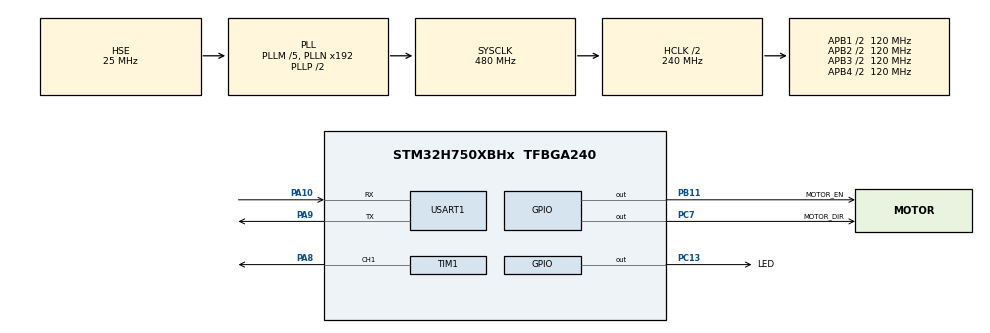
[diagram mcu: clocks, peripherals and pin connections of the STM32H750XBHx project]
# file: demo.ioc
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CORTEX_M7.default_mode_Activation=1
Mcu.Family=STM32H7
Mcu.Name=STM32H750XBHx
Mcu.Package=TFBGA240
NVIC.PriorityGroup=NVIC_PRIORITYGROUP_4
NVIC.TIM1_UP_IRQn=true\:0\:0\:false\:false\:true\:true\:true\:true
PA10.Mode=Asynchronous
PA10.Signal=USART1_RX
PA13\ (JTMS/SWDIO).Mode=Serial_Wire
PA13\ (JTMS/SWDIO).Signal=DEBUG_JTMS-SWDIO
PA14\ (JTCK/SWCLK).Mode=Serial_Wire
PA14\ (JTCK/SWCLK).Signal=DEBUG_JTCK-SWCLK
PA8.Signal=S_TIM1_CH1
PA9.Mode=Asynchronous
PA9.Signal=USART1_TX
PB11.GPIO_Label=MOTOR_EN
PB11.PinState=GPIO_PIN_SET
PB11.Signal=GPIO_Output
PC13.GPIO_Label=LED
PC13.GPIO_PuPd=GPIO_PULLUP
PC13.PinState=GPIO_PIN_SET
PC13.Signal=GPIO_Output
PC7.GPIO_Label=MOTOR_DIR
PC7.Signal=GPIO_Output
PH0-OSC_IN\ (PH0).Mode=HSE-External-Oscillator
PH0-OSC_IN\ (PH0).Signal=RCC_OSC_IN
PH1-OSC_OUT\ (PH1).Mode=HSE-External-Oscillator
PH1-OSC_OUT\ (PH1).Signal=RCC_OSC_OUT
ProjectManager.HeapSize=0x200
ProjectManager.StackSize=0x400
ProjectManager.TargetToolchain=MDK-ARM V5.32
RCC.ADCFreq_Value=50390625
RCC.APB1Freq_Value=120000000
RCC.APB2Freq_Value=120000000
RCC.APB3Freq_Value=120000000
RCC.APB4Freq_Value=120000000
RCC.CortexFreq_Value=480000000
RCC.D1PPRE=RCC_APB3_DIV2
RCC.D2PPRE1=RCC_APB1_DIV2
RCC.D2PPRE2=RCC_APB2_DIV2
RCC.D3PPRE=RCC_APB4_DIV2
RCC.DIVM1=5
RCC.DIVN1=192
RCC.HCLKFreq_Value=240000000
RCC.HPRE=RCC_HCLK_DIV2
RCC.PLL2FRACN=0
RCC.PLL3FRACN=0
RCC.PLLFRACN=0
RCC.PLLSourceVirtual=RCC_PLLSOURCE_HSE
RCC.PWR_Regulator_Voltage_Scale=PWR_REGULATOR_VOLTAGE_SCALE0
RCC.SYSCLKFreq_VALUE=480000000
RCC.SYSCLKSource=RCC_SYSCLKSOURCE_PLLCLK
RCC.USBFreq_Value=480000000
SH.S_TIM1_CH1.0=TIM1_CH1,PWM Generation1 CH1
TIM1.Channel-PWM\ Generation1\ CH1=TIM_CHANNEL_1
TIM1.Period=1000-1
TIM1.Prescaler=240-1
TIM1.Pulse-PWM\ Generation1\ CH1=500
USART1.VirtualMode-Asynchronous=VM_ASYNC
board=custom

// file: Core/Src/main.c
/* USER CODE BEGIN Header */
/**
 ******************************************************************************
 * @file           : main.c
 * @brief          : Main program body
 ******************************************************************************
 * @attention
 *
 * Copyright (c) 2023 STMicroelectronics.
 * All rights reserved.
 *
 * This software is licensed under terms that can be found in the LICENSE file
 * in the root directory of this software component.
 * If no LICENSE file comes with this software, it is provided AS-IS.
 *
 ******************************************************************************
 */
/* USER CODE END Header */
#include "main.h"
#include "tim.h"
#include "usart.h"
#include "gpio.h"

/* USER CODE BEGIN Includes */
#include "bsp.h"
/* USER CODE END Includes */

/* USER CODE BEGIN PV */

#define ARRAY_SIZE(arr)     (sizeof(arr) / sizeof(*arr))

#define STEPPER_ENABLE()    HAL_GPIO_WritePin(MOTOR_EN_GPIO_Port, MOTOR_EN_Pin, GPIO_PIN_RESET)
#define STEPPER_DISABLE()   HAL_GPIO_WritePin(MOTOR_EN_GPIO_Port, MOTOR_EN_Pin, GPIO_PIN_SET)

#define STEPPER_DIR_CW()    HAL_GPIO_WritePin(MOTOR_DIR_GPIO_Port, MOTOR_DIR_Pin, GPIO_PIN_SET)
#define STEPPER_DIR_CCW()   HAL_GPIO_WritePin(MOTOR_DIR_GPIO_Port, MOTOR_DIR_Pin, GPIO_PIN_RESET)

#define STEPPER_PWM_START() HAL_TIM_PWM_Start_IT(&htim1, TIM_CHANNEL_1)
#define STEPPER_PWM_STOP()  HAL_TIM_PWM_Stop_IT(&htim1, TIM_CHANNEL_1)

static __IO uint32_t m_nPulseCount = 0;

void HAL_TIM_PeriodElapsedCallback(TIM_HandleTypeDef* htim)
{
    if (m_nPulseCount > 0)
    {
        if (--m_nPulseCount == 0)
        {
            STEPPER_PWM_STOP();
        }
    }
}

void Motor_SetSpeed(int16_t speed)  // pulse/s
{
    if (speed > 0)
    {
        STEPPER_DIR_CW();
    }
    else
    {
        speed = -speed;
        STEPPER_DIR_CCW();
    }

    // PWM Freq (pulse/s) = TIM clock / Perscaler / ClockDivision / Period

    // TIMCLK = 240MHz, Perscaler = 240, ClockDivision = 1
    // Speed = PWM Freq = 1e6 / Period

    uint16_t period = 1e6 / (float)speed;

    __HAL_TIM_SetAutoreload(&htim1, period - 1);
    __HAL_TIM_SetCompare(&htim1, TIM_CHANNEL_1, (period / 2) - 1);
}

int16_t Pulse2Speed(int16_t pulse, uint32_t time_ms)
{
    // unit: pulse/s
    return 1000 * pulse / (float)time_ms;
}

void Motor_SetPulse(uint32_t Pulse)
{
    // 使用定时器中断记计脉冲数
    m_nPulseCount = Pulse;
}

uint32_t Motor_GetRemainedPulseCount(void)
{
    return m_nPulseCount;
}

void Motor_MoveSpeed(int16_t speed, uint32_t time_ms)
{
    if (speed == 0)
    {
        return;
    }

    Motor_SetSpeed(speed);

    STEPPER_ENABLE();
    STEPPER_PWM_START();
    HAL_Delay(time_ms);
    STEPPER_PWM_STOP();
    STEPPER_DISABLE();
}

void Motor_MoveRelPos(int16_t pulse, uint16_t time_ms)
{
    if (pulse == 0)
    {
        return;
    }

    Motor_SetPulse(abs(pulse));
    Motor_SetSpeed(Pulse2Speed(pulse, time_ms));

    STEPPER_ENABLE();

    STEPPER_PWM_START();
    while (Motor_GetRemainedPulseCount() > 0)
        ;
    STEPPER_DISABLE();
}

void MotorPositionDemo(void)
{
    printf("%s\n", __func__);
    printf("t = %d ms\n", HAL_GetTick());
    Motor_MoveRelPos(3000, 500);
    printf("t = %d ms\n", HAL_GetTick());
    Motor_MoveRelPos(-3000, 1000);
    printf("t = %d ms\n", HAL_GetTick());
}

void MotorSpeedDemo(void)
{
    printf("%s\n", __func__);
    Motor_MoveSpeed(100, 2000);
    Motor_MoveSpeed(200, 2000);
    Motor_MoveSpeed(-100, 2000);
    Motor_MoveSpeed(-200, 2000);
}

/* USER CODE END PV */

void        SystemClock_Config(void);
static void MPU_Config(void);

int main(void)
{

    /* MPU Configuration--------------------------------------------------------*/
    MPU_Config();

    /* MCU Configuration--------------------------------------------------------*/

    /* Reset of all peripherals, Initializes the Flash interface and the Systick. */
    HAL_Init();

    /* Configure the system clock */
    SystemClock_Config();

    /* Initialize all configured peripherals */
    MX_GPIO_Init();
    MX_USART1_UART_Init();
    MX_TIM1_Init();
    /* USER CODE BEGIN 2 */
#if 1
    MotorSpeedDemo();
#else
    __HAL_TIM_ENABLE_IT(&htim1, TIM_IT_UPDATE);
    MotorPositionDemo();
#endif
    /* USER CODE END 2 */

    /* Infinite loop */
    /* USER CODE BEGIN WHILE */
    while (1)
    {
        LED_ON();
        HAL_Delay(500);
        LED_OFF();
        HAL_Delay(500);
        /* USER CODE END WHILE */

    }
}

void SystemClock_Config(void)
{
    RCC_OscInitTypeDef RCC_OscInitStruct = {0};
    RCC_ClkInitTypeDef RCC_ClkInitStruct = {0};

    /** Supply configuration update enable
     */
    HAL_PWREx_ConfigSupply(PWR_LDO_SUPPLY);

    /** Configure the main internal regulator output voltage
     */
    __HAL_PWR_VOLTAGESCALING_CONFIG(PWR_REGULATOR_VOLTAGE_SCALE1);

    while (!__HAL_PWR_GET_FLAG(PWR_FLAG_VOSRDY)) {}

    __HAL_RCC_SYSCFG_CLK_ENABLE();
    __HAL_PWR_VOLTAGESCALING_CONFIG(PWR_REGULATOR_VOLTAGE_SCALE0);

    while (!__HAL_PWR_GET_FLAG(PWR_FLAG_VOSRDY)) {}

    /** Initializes the RCC Oscillators according to the specified parameters
     * in the RCC_OscInitTypeDef structure.
     */
    RCC_OscInitStruct.OscillatorType = RCC_OSCILLATORTYPE_HSE;
    RCC_OscInitStruct.HSEState       = RCC_HSE_ON;
    RCC_OscInitStruct.PLL.PLLState   = RCC_PLL_ON;
    RCC_OscInitStruct.PLL.PLLSource  = RCC_PLLSOURCE_HSE;
    RCC_OscInitStruct.PLL.PLLM       = 5;
    RCC_OscInitStruct.PLL.PLLN       = 192;
    RCC_OscInitStruct.PLL.PLLP       = 2;
    RCC_OscInitStruct.PLL.PLLQ       = 2;
    RCC_OscInitStruct.PLL.PLLR       = 2;
    RCC_OscInitStruct.PLL.PLLRGE     = RCC_PLL1VCIRANGE_2;
    RCC_OscInitStruct.PLL.PLLVCOSEL  = RCC_PLL1VCOWIDE;
    RCC_OscInitStruct.PLL.PLLFRACN   = 0;
    if (HAL_RCC_OscConfig(&RCC_OscInitStruct) != HAL_OK)
    {
        Error_Handler();
    }

    /** Initializes the CPU, AHB and APB buses clocks
     */
    RCC_ClkInitStruct.ClockType      = RCC_CLOCKTYPE_HCLK | RCC_CLOCKTYPE_SYSCLK | RCC_CLOCKTYPE_PCLK1 | RCC_CLOCKTYPE_PCLK2 | RCC_CLOCKTYPE_D3PCLK1 | RCC_CLOCKTYPE_D1PCLK1;
    RCC_ClkInitStruct.SYSCLKSource   = RCC_SYSCLKSOURCE_PLLCLK;
    RCC_ClkInitStruct.SYSCLKDivider  = RCC_SYSCLK_DIV1;
    RCC_ClkInitStruct.AHBCLKDivider  = RCC_HCLK_DIV2;
    RCC_ClkInitStruct.APB3CLKDivider = RCC_APB3_DIV2;
    RCC_ClkInitStruct.APB1CLKDivider = RCC_APB1_DIV2;
    RCC_ClkInitStruct.APB2CLKDivider = RCC_APB2_DIV2;
    RCC_ClkInitStruct.APB4CLKDivider = RCC_APB4_DIV2;

    if (HAL_RCC_ClockConfig(&RCC_ClkInitStruct, FLASH_LATENCY_4) != HAL_OK)
    {
        Error_Handler();
    }
}

/* MPU Configuration */

void MPU_Config(void)
{
    MPU_Region_InitTypeDef MPU_InitStruct = {0};

    /* Disables the MPU */
    HAL_MPU_Disable();

    /** Initializes and configures the Region and the memory to be protected
     */
    MPU_InitStruct.Enable           = MPU_REGION_ENABLE;
    MPU_InitStruct.Number           = MPU_REGION_NUMBER0;
    MPU_InitStruct.BaseAddress      = 0x0;
    MPU_InitStruct.Size             = MPU_REGION_SIZE_4GB;
    MPU_InitStruct.SubRegionDisable = 0x87;
    MPU_InitStruct.TypeExtField     = MPU_TEX_LEVEL0;
    MPU_InitStruct.AccessPermission = MPU_REGION_NO_ACCESS;
    MPU_InitStruct.DisableExec      = MPU_INSTRUCTION_ACCESS_DISABLE;
    MPU_InitStruct.IsShareable      = MPU_ACCESS_SHAREABLE;
    MPU_InitStruct.IsCacheable      = MPU_ACCESS_NOT_CACHEABLE;
    MPU_InitStruct.IsBufferable     = MPU_ACCESS_NOT_BUFFERABLE;

    HAL_MPU_ConfigRegion(&MPU_InitStruct);
    /* Enables the MPU */
    HAL_MPU_Enable(MPU_PRIVILEGED_DEFAULT);
}

void Error_Handler(void)
{
    __disable_irq();
    while (1)
    {
    }
}
